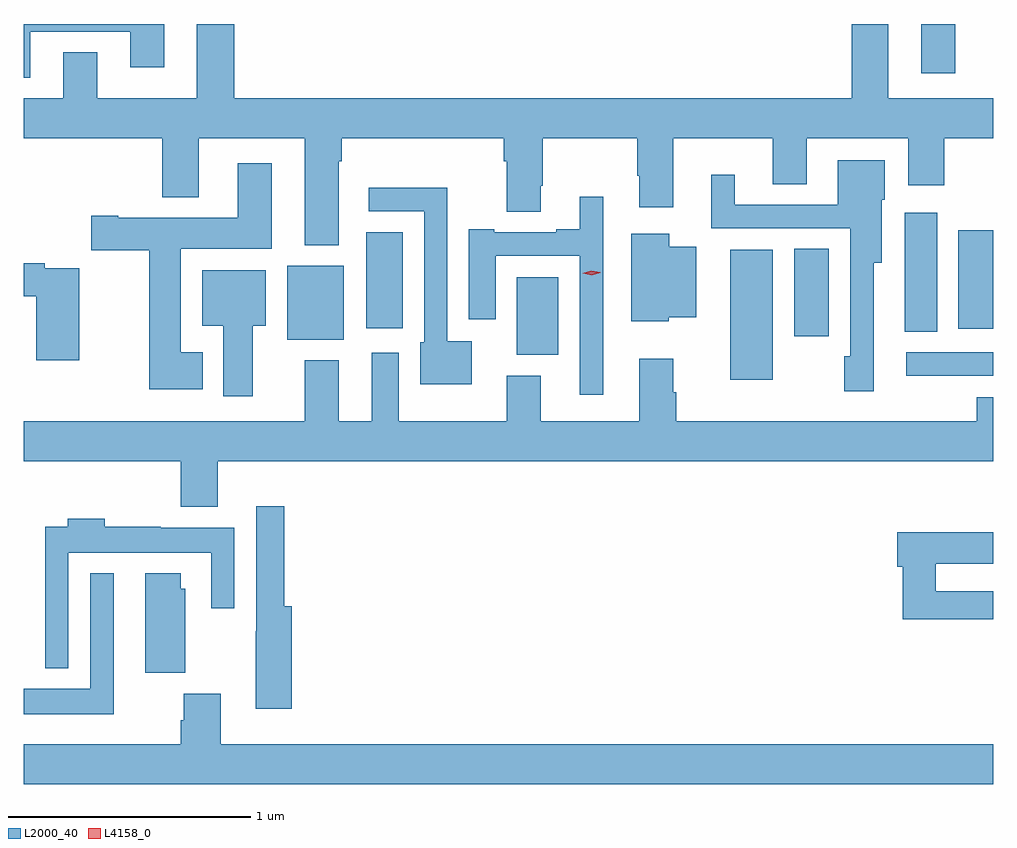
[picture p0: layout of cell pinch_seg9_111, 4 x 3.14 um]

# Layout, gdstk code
import gdstk
lib = gdstk.Library(unit=1e-6, precision=1e-09)
def R(c, l, rs):  # rectangles x0, y0, x1, y1
    for r in rs: c.add(gdstk.rectangle(r[:2], r[2:], *l))
def P(c, l, *ps):  # polygons
    for p in ps: c.add(gdstk.Polygon(p, *l))
L2000_40 = (2000, 40)
L4158_0 = (4158, 0)

pinch_seg9_111 = lib.new_cell('pinch_seg9_111')
R(pinch_seg9_111, L2000_40, [(864.83,1230.056,865.006,1230.592), (865.557,1230.072,865.916,1230.168), (863.951,1230.158,864.121,1230.478), (863.003,1230.221,863.236,1230.526), (865.094,1230.234,865.237,1230.596), (865.55,1230.253,865.684,1230.745), (865.772,1230.266,865.916,1230.673), (863.33,1230.267,863.479,1230.665), (865.619,1231.32,865.759,1231.523)])
P(pinch_seg9_111, L2000_40, [(861.943,1231.491),(862.355,1231.491),(862.355,1231.344),(862.495,1231.344),(862.495,1231.523),(861.916,1231.523),(861.916,1231.302),(861.943,1231.302)],
  [(863.215,1230.956),(863.228,1230.956),(863.228,1231.052),(863.897,1231.052),(863.897,1230.956),(863.909,1230.956),(863.909,1230.748),(864.049,1230.748),(864.049,1230.856),(864.057,1230.856),(864.057,1231.052),(864.448,1231.052),(864.448,1230.898),(864.455,1230.898),(864.455,1230.768),(864.595,1230.768),(864.595,1231.052),(865.007,1231.052),(865.007,1230.862),(865.147,1230.862),(865.147,1231.052),(865.565,1231.052),(865.565,1230.858),(865.713,1230.858),(865.713,1231.052),(865.916,1231.052),(865.916,1231.216),(865.483,1231.216),(865.483,1231.523),(865.331,1231.523),(865.331,1231.216),(862.784,1231.216),(862.784,1231.523),(862.631,1231.523),(862.631,1231.216),(862.219,1231.216),(862.219,1231.406),(862.079,1231.406),(862.079,1231.216),(861.916,1231.216),(861.916,1231.052),(862.487,1231.052),(862.487,1230.809),(862.639,1230.809),(862.639,1231.052),(863.075,1231.052),(863.075,1230.611),(863.215,1230.611)],
  [(865.422,1230.539),(865.456,1230.539),(865.456,1230.798),(865.468,1230.798),(865.468,1230.961),(865.274,1230.961),(865.274,1230.777),(864.85,1230.777),(864.85,1230.901),(864.752,1230.901),(864.752,1230.681),(865.326,1230.681),(865.326,1230.153),(865.3,1230.153),(865.3,1230.009),(865.422,1230.009)],
  [(862.654,1230.169),(862.564,1230.169),(862.564,1230.596),(862.939,1230.596),(862.939,1230.949),(862.799,1230.949),(862.799,1230.724),(862.306,1230.724),(862.306,1230.732),(862.194,1230.732),(862.194,1230.59),(862.435,1230.59),(862.435,1230.017),(862.654,1230.017)],
  [(863.764,1230.214),(863.664,1230.214),(863.664,1230.848),(863.34,1230.848),(863.34,1230.75),(863.568,1230.75),(863.568,1230.21),(863.552,1230.21),(863.552,1230.038),(863.764,1230.038)],
  [(864.306,1230.811),(864.209,1230.811),(864.209,1230.676),(864.113,1230.676),(864.113,1230.663),(863.857,1230.663),(863.857,1230.676),(863.753,1230.676),(863.753,1230.306),(863.863,1230.306),(863.863,1230.567),(864.21,1230.567),(864.21,1229.994),(864.306,1229.994)],
  [(864.576,1230.314),(864.691,1230.314),(864.691,1230.604),(864.58,1230.604),(864.58,1230.658),(864.422,1230.658),(864.422,1230.296),(864.576,1230.296)],
  [(862.146,1230.516),(862.004,1230.516),(862.004,1230.536),(861.916,1230.536),(861.916,1230.4),(861.968,1230.4),(861.968,1230.135),(862.146,1230.135)],
  [(862.861,1230.278),(862.915,1230.278),(862.915,1230.508),(862.652,1230.508),(862.652,1230.278),(862.739,1230.278),(862.739,1229.988),(862.861,1229.988)],
  [(865.916,1229.983),(865.847,1229.983),(865.847,1229.884),(864.608,1229.884),(864.608,1230.005),(864.595,1230.005),(864.595,1230.142),(864.455,1230.142),(864.455,1229.884),(864.049,1229.884),(864.049,1230.073),(863.909,1230.073),(863.909,1229.884),(863.464,1229.884),(863.464,1230.166),(863.351,1230.166),(863.351,1229.884),(863.215,1229.884),(863.215,1230.136),(863.075,1230.136),(863.075,1229.884),(861.916,1229.884),(861.916,1229.72),(862.565,1229.72),(862.565,1229.531),(862.717,1229.531),(862.717,1229.72),(865.916,1229.72)],
  [(863.021,1229.122),(862.991,1229.122),(862.991,1229.533),(862.875,1229.533),(862.875,1229.018),(862.874,1229.018),(862.874,1228.698),(863.021,1228.698)],
  [(862.101,1229.342),(862.689,1229.342),(862.689,1229.112),(862.785,1229.112),(862.785,1229.446),(862.481,1229.446),(862.481,1229.449),(862.25,1229.449),(862.25,1229.482),(862.097,1229.482),(862.097,1229.449),(862.005,1229.449),(862.005,1228.865),(862.101,1228.865)],
  [(865.916,1229.184),(865.679,1229.184),(865.679,1229.297),(865.916,1229.297),(865.916,1229.427),(865.52,1229.427),(865.52,1229.285),(865.543,1229.285),(865.543,1229.068),(865.916,1229.068)],
  [(862.582,1229.193),(862.564,1229.193),(862.564,1229.257),(862.418,1229.257),(862.418,1228.846),(862.582,1228.846)],
  [(862.288,1229.257),(862.191,1229.257),(862.191,1228.78),(861.916,1228.78),(861.916,1228.676),(862.288,1228.676)],
  [(865.916,1228.552),(862.73,1228.552),(862.73,1228.761),(862.577,1228.761),(862.577,1228.652),(862.565,1228.652),(862.565,1228.552),(861.916,1228.552),(861.916,1228.388),(865.916,1228.388)])
P(pinch_seg9_111, L4158_0, [(864.259,1230.486),(864.223,1230.495),(864.222,1230.495),(864.223,1230.495),(864.258,1230.506),(864.294,1230.498),(864.294,1230.497),(864.294,1230.497)])

lib.write_gds('pinch_seg9_111.gds')
